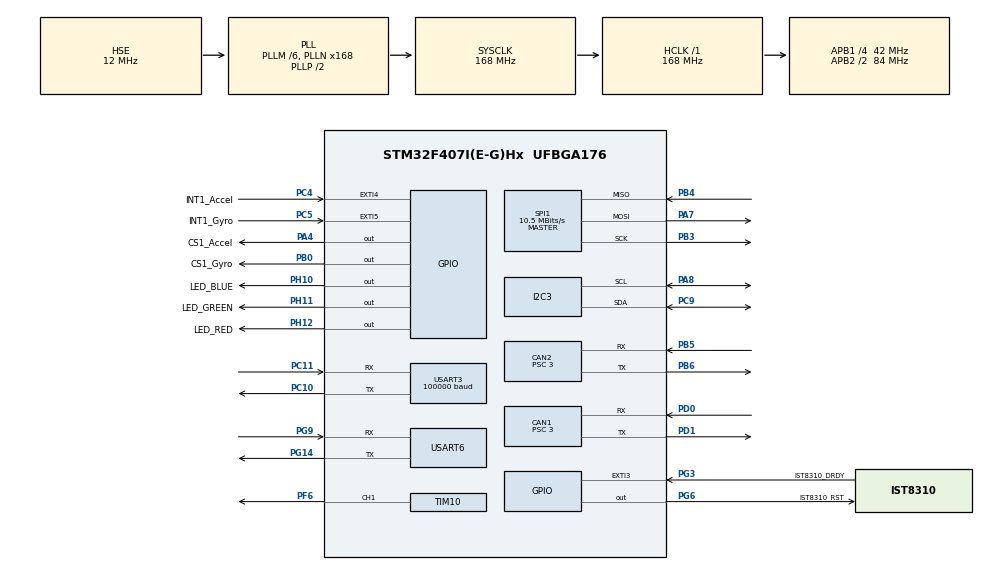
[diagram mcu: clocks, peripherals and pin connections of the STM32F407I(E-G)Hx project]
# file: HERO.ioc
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CAN1.BS1=CAN_BS1_10TQ
CAN1.BS2=CAN_BS2_3TQ
CAN1.CalculateBaudRate=1000000
CAN1.CalculateTimeBit=1000
CAN1.CalculateTimeQuantum=71.42857142857143
CAN1.Prescaler=3
CAN2.BS1=CAN_BS1_10TQ
CAN2.BS2=CAN_BS2_3TQ
CAN2.CalculateBaudRate=1000000
CAN2.CalculateTimeBit=1000
CAN2.CalculateTimeQuantum=71.42857142857143
CAN2.Prescaler=3
Dma.Request0=SPI1_RX
Dma.Request1=SPI1_TX
Dma.Request2=USART3_RX
Dma.Request3=USART6_RX
Dma.Request4=USART6_TX
Dma.SPI1_RX.0.Direction=DMA_PERIPH_TO_MEMORY
Dma.SPI1_RX.0.FIFOMode=DMA_FIFOMODE_DISABLE
Dma.SPI1_RX.0.Instance=DMA2_Stream0
Dma.SPI1_RX.0.MemDataAlignment=DMA_MDATAALIGN_BYTE
Dma.SPI1_RX.0.MemInc=DMA_MINC_ENABLE
Dma.SPI1_RX.0.Mode=DMA_NORMAL
Dma.SPI1_RX.0.PeriphDataAlignment=DMA_PDATAALIGN_BYTE
Dma.SPI1_RX.0.PeriphInc=DMA_PINC_DISABLE
Dma.SPI1_RX.0.Priority=DMA_PRIORITY_VERY_HIGH
Dma.SPI1_TX.1.Direction=DMA_MEMORY_TO_PERIPH
Dma.SPI1_TX.1.FIFOMode=DMA_FIFOMODE_DISABLE
Dma.SPI1_TX.1.Instance=DMA2_Stream3
Dma.SPI1_TX.1.MemDataAlignment=DMA_MDATAALIGN_BYTE
Dma.SPI1_TX.1.MemInc=DMA_MINC_ENABLE
Dma.SPI1_TX.1.Mode=DMA_NORMAL
Dma.SPI1_TX.1.PeriphDataAlignment=DMA_PDATAALIGN_BYTE
Dma.SPI1_TX.1.PeriphInc=DMA_PINC_DISABLE
Dma.SPI1_TX.1.Priority=DMA_PRIORITY_HIGH
Dma.USART3_RX.2.Direction=DMA_PERIPH_TO_MEMORY
Dma.USART3_RX.2.FIFOMode=DMA_FIFOMODE_DISABLE
Dma.USART3_RX.2.Instance=DMA1_Stream1
Dma.USART3_RX.2.MemDataAlignment=DMA_MDATAALIGN_BYTE
Dma.USART3_RX.2.MemInc=DMA_MINC_ENABLE
Dma.USART3_RX.2.Mode=DMA_CIRCULAR
Dma.USART3_RX.2.PeriphDataAlignment=DMA_PDATAALIGN_BYTE
Dma.USART3_RX.2.PeriphInc=DMA_PINC_DISABLE
Dma.USART3_RX.2.Priority=DMA_PRIORITY_VERY_HIGH
Dma.USART6_RX.3.Direction=DMA_PERIPH_TO_MEMORY
Dma.USART6_RX.3.FIFOMode=DMA_FIFOMODE_DISABLE
Dma.USART6_RX.3.Instance=DMA2_Stream1
Dma.USART6_RX.3.MemDataAlignment=DMA_MDATAALIGN_BYTE
Dma.USART6_RX.3.MemInc=DMA_MINC_ENABLE
Dma.USART6_RX.3.Mode=DMA_NORMAL
Dma.USART6_RX.3.PeriphDataAlignment=DMA_PDATAALIGN_BYTE
Dma.USART6_RX.3.PeriphInc=DMA_PINC_DISABLE
Dma.USART6_RX.3.Priority=DMA_PRIORITY_VERY_HIGH
Dma.USART6_TX.4.Direction=DMA_MEMORY_TO_PERIPH
Dma.USART6_TX.4.FIFOMode=DMA_FIFOMODE_DISABLE
Dma.USART6_TX.4.Instance=DMA2_Stream6
Dma.USART6_TX.4.MemDataAlignment=DMA_MDATAALIGN_BYTE
Dma.USART6_TX.4.MemInc=DMA_MINC_ENABLE
Dma.USART6_TX.4.Mode=DMA_NORMAL
Dma.USART6_TX.4.PeriphDataAlignment=DMA_PDATAALIGN_BYTE
Dma.USART6_TX.4.PeriphInc=DMA_PINC_DISABLE
Dma.USART6_TX.4.Priority=DMA_PRIORITY_VERY_HIGH
FREERTOS.INCLUDE_uxTaskGetStackHighWaterMark=1
FREERTOS.INCLUDE_uxTaskGetStackHighWaterMark2=0
FREERTOS.Tasks01=defaultTask,0,128,StartDefaultTask,Default,NULL,Dynamic,NULL,NULL
I2C3.I2C_Mode=I2C_Fast
Mcu.Family=STM32F4
Mcu.Name=STM32F407I(E-G)Hx
Mcu.Package=UFBGA176
NVIC.CAN1_RX0_IRQn=true\:5\:0\:false\:false\:true\:true\:true\:true\:true
NVIC.CAN1_TX_IRQn=true\:5\:0\:false\:false\:true\:true\:true\:true\:true
NVIC.CAN2_RX0_IRQn=true\:5\:0\:false\:false\:true\:true\:true\:true\:true
NVIC.CAN2_TX_IRQn=true\:5\:0\:false\:false\:true\:true\:true\:true\:true
NVIC.DMA1_Stream1_IRQn=true\:5\:0\:false\:false\:true\:true\:false\:true\:true
NVIC.DMA2_Stream0_IRQn=true\:5\:0\:false\:false\:true\:true\:false\:true\:true
NVIC.DMA2_Stream1_IRQn=true\:5\:0\:false\:false\:true\:true\:false\:true\:true
NVIC.DMA2_Stream3_IRQn=true\:5\:0\:false\:false\:true\:true\:false\:true\:true
NVIC.DMA2_Stream6_IRQn=true\:5\:0\:false\:false\:true\:true\:false\:true\:true
NVIC.PriorityGroup=NVIC_PRIORITYGROUP_4
NVIC.TIM3_IRQn=true\:15\:0\:false\:false\:true\:false\:false\:true\:true
NVIC.TimeBase=TIM3_IRQn
NVIC.TimeBaseIP=TIM3
NVIC.USART3_IRQn=true\:5\:0\:false\:false\:true\:true\:true\:true\:true
NVIC.USART6_IRQn=true\:5\:0\:false\:false\:true\:true\:true\:true\:true
PA13.Mode=Serial_Wire
PA13.Signal=SYS_JTMS-SWDIO
PA14.Mode=Serial_Wire
PA14.Signal=SYS_JTCK-SWCLK
PA4.GPIO_Label=CS1_Accel
PA4.GPIO_ModeDefaultOutputPP=GPIO_MODE_OUTPUT_PP
PA4.GPIO_PuPd=GPIO_PULLUP
PA4.Signal=GPIO_Output
PA7.Mode=Full_Duplex_Master
PA7.Signal=SPI1_MOSI
PA8.Mode=I2C
PA8.Signal=I2C3_SCL
PB0.GPIO_Label=CS1_Gyro
PB0.GPIO_PuPd=GPIO_PULLUP
PB0.Signal=GPIO_Output
PB3.Mode=Full_Duplex_Master
PB3.Signal=SPI1_SCK
PB4.Mode=Full_Duplex_Master
PB4.Signal=SPI1_MISO
PB5.Mode=CAN_Activate
PB5.Signal=CAN2_RX
PB6.Mode=CAN_Activate
PB6.Signal=CAN2_TX
PC10.Mode=Asynchronous
PC10.Signal=USART3_TX
PC11.Mode=Asynchronous
PC11.Signal=USART3_RX
PC4.GPIO_Label=INT1_Accel
PC4.GPIO_ModeDefaultEXTI=GPIO_MODE_IT_FALLING
PC4.GPIO_PuPd=GPIO_PULLUP
PC4.Signal=GPXTI4
PC5.GPIO_Label=INT1_Gyro
PC5.GPIO_ModeDefaultEXTI=GPIO_MODE_IT_FALLING
PC5.GPIO_PuPd=GPIO_PULLUP
PC5.Signal=GPXTI5
PC9.Mode=I2C
PC9.Signal=I2C3_SDA
PD0.Mode=CAN_Activate
PD0.Signal=CAN1_RX
PD1.Mode=CAN_Activate
PD1.Signal=CAN1_TX
PF6.GPIO_PuPd=GPIO_PULLUP
PF6.GPIO_Speed=GPIO_SPEED_FREQ_HIGH
PF6.Signal=S_TIM10_CH1
PG14.Mode=Asynchronous
PG14.Signal=USART6_TX
PG3.GPIO_Label=IST8310_DRDY
PG3.GPIO_ModeDefaultEXTI=GPIO_MODE_IT_FALLING
PG3.GPIO_PuPd=GPIO_PULLUP
PG3.Signal=GPXTI3
PG6.GPIO_Label=IST8310_RST
PG6.GPIO_ModeDefaultOutputPP=GPIO_MODE_OUTPUT_PP
PG6.GPIO_PuPd=GPIO_PULLUP
PG6.GPIO_Speed=GPIO_SPEED_FREQ_MEDIUM
PG6.PinState=GPIO_PIN_SET
PG6.Signal=GPIO_Output
PG9.Mode=Asynchronous
PG9.Signal=USART6_RX
PH0-OSC_IN.Mode=HSE-External-Oscillator
PH0-OSC_IN.Signal=RCC_OSC_IN
PH1-OSC_OUT.Mode=HSE-External-Oscillator
PH1-OSC_OUT.Signal=RCC_OSC_OUT
PH10.GPIO_Label=LED_BLUE
PH10.GPIO_ModeDefaultOutputPP=GPIO_MODE_OUTPUT_PP
PH10.GPIO_PuPd=GPIO_PULLUP
PH10.GPIO_Speed=GPIO_SPEED_FREQ_LOW
PH10.PinState=GPIO_PIN_SET
PH10.Signal=GPIO_Output
PH11.GPIO_Label=LED_GREEN
PH11.GPIO_PuPd=GPIO_PULLUP
PH11.GPIO_Speed=GPIO_SPEED_FREQ_LOW
PH11.PinState=GPIO_PIN_SET
PH11.Signal=GPIO_Output
PH12.GPIO_Label=LED_RED
PH12.GPIO_PuPd=GPIO_PULLUP
PH12.GPIO_Speed=GPIO_SPEED_FREQ_LOW
PH12.PinState=GPIO_PIN_SET
PH12.Signal=GPIO_Output
ProjectManager.HeapSize=0x200
ProjectManager.StackSize=0x400
ProjectManager.TargetToolchain=MDK-ARM V5.32
RCC.48MHZClocksFreq_Value=84000000
RCC.AHBFreq_Value=168000000
RCC.APB1CLKDivider=RCC_HCLK_DIV4
RCC.APB1Freq_Value=42000000
RCC.APB1TimFreq_Value=84000000
RCC.APB2CLKDivider=RCC_HCLK_DIV2
RCC.APB2Freq_Value=84000000
RCC.APB2TimFreq_Value=168000000
RCC.CortexFreq_Value=168000000
RCC.HCLKFreq_Value=168000000
RCC.HSE_VALUE=12000000
RCC.HSI_VALUE=16000000
RCC.LSE_VALUE=32768
RCC.PLLM=6
RCC.PLLN=168
RCC.PLLSourceVirtual=RCC_PLLSOURCE_HSE
RCC.SYSCLKFreq_VALUE=168000000
RCC.SYSCLKSource=RCC_SYSCLKSOURCE_PLLCLK
RCC.VCOOutputFreq_Value=336000000
SH.S_TIM10_CH1.0=TIM10_CH1,PWM Generation1 CH1
SPI1.BaudRatePrescaler=SPI_BAUDRATEPRESCALER_8
SPI1.CLKPhase=SPI_PHASE_2EDGE
SPI1.CLKPolarity=SPI_POLARITY_HIGH
SPI1.CalculateBaudRate=10.5 MBits/s
SPI1.Direction=SPI_DIRECTION_2LINES
SPI1.Mode=SPI_MODE_MASTER
SPI1.VirtualType=VM_MASTER
TIM10.Channel=TIM_CHANNEL_1
TIM10.Period=4999
USART3.BaudRate=100000
USART3.VirtualMode=VM_ASYNC
USART6.VirtualMode=VM_ASYNC
VP_FREERTOS_VS_CMSIS_V1.Mode=CMSIS_V1
VP_SYS_VS_tim3.Mode=TIM3
VP_TIM10_VS_ClockSourceINT.Mode=Enable_Timer
board=custom

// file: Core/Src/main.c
/* USER CODE BEGIN Header */
/**
  ******************************************************************************
  * @file           : main.c
  * @brief          : Main program body
  ******************************************************************************
  * @attention
  *
  * Copyright (c) 2023 STMicroelectronics.
  * All rights reserved.
  *
  * This software is licensed under terms that can be found in the LICENSE file
  * in the root directory of this software component.
  * If no LICENSE file comes with this software, it is provided AS-IS.
  *
  ******************************************************************************
  */
/* USER CODE END Header */
#include "main.h"
#include "cmsis_os.h"
#include "can.h"
#include "dma.h"
#include "i2c.h"
#include "spi.h"
#include "tim.h"
#include "usart.h"
#include "gpio.h"

/* USER CODE BEGIN Includes */
#include "INS_task.h"
#include "drv_can.h"
#include "drv_usart.h"
/* USER CODE END Includes */

void SystemClock_Config(void);
void MX_FREERTOS_Init(void);

int main(void)
{

  /* MCU Configuration--------------------------------------------------------*/

  /* Reset of all peripherals, Initializes the Flash interface and the Systick. */
  HAL_Init();

  /* Configure the system clock */
  SystemClock_Config();

  /* Initialize all configured peripherals */
  MX_GPIO_Init();
  MX_DMA_Init();
  MX_I2C3_Init();
  MX_SPI1_Init();
  MX_TIM10_Init();
  MX_USART3_UART_Init();
  MX_CAN1_Init();
  MX_CAN2_Init();
  MX_USART6_UART_Init();
  /* USER CODE BEGIN 2 */
  HAL_GPIO_WritePin(GPIOH,LED_BLUE_Pin,GPIO_PIN_RESET);
  HAL_GPIO_WritePin(GPIOH,LED_RED_Pin,GPIO_PIN_RESET);
  HAL_GPIO_WritePin(GPIOH,LED_GREEN_Pin,GPIO_PIN_RESET);
  HAL_TIM_PWM_Start(&htim10,TIM_CHANNEL_1);
  CAN1_Init();
  CAN2_Init();
  USART3_Init();
  /* USER CODE END 2 */

  /* Call init function for freertos objects (in freertos.c) */
  MX_FREERTOS_Init();

  /* Start scheduler */
  osKernelStart();

  /* We should never get here as control is now taken by the scheduler */
  /* Infinite loop */
  while (1)
  {

  }
}

void SystemClock_Config(void)
{
  RCC_OscInitTypeDef RCC_OscInitStruct = {0};
  RCC_ClkInitTypeDef RCC_ClkInitStruct = {0};

  /** Configure the main internal regulator output voltage
  */
  __HAL_RCC_PWR_CLK_ENABLE();
  __HAL_PWR_VOLTAGESCALING_CONFIG(PWR_REGULATOR_VOLTAGE_SCALE1);

  /** Initializes the RCC Oscillators according to the specified parameters
  * in the RCC_OscInitTypeDef structure.
  */
  RCC_OscInitStruct.OscillatorType = RCC_OSCILLATORTYPE_HSE;
  RCC_OscInitStruct.HSEState = RCC_HSE_ON;
  RCC_OscInitStruct.PLL.PLLState = RCC_PLL_ON;
  RCC_OscInitStruct.PLL.PLLSource = RCC_PLLSOURCE_HSE;
  RCC_OscInitStruct.PLL.PLLM = 6;
  RCC_OscInitStruct.PLL.PLLN = 168;
  RCC_OscInitStruct.PLL.PLLP = RCC_PLLP_DIV2;
  RCC_OscInitStruct.PLL.PLLQ = 4;
  if (HAL_RCC_OscConfig(&RCC_OscInitStruct) != HAL_OK)
  {
    Error_Handler();
  }

  /** Initializes the CPU, AHB and APB buses clocks
  */
  RCC_ClkInitStruct.ClockType = RCC_CLOCKTYPE_HCLK|RCC_CLOCKTYPE_SYSCLK
                              |RCC_CLOCKTYPE_PCLK1|RCC_CLOCKTYPE_PCLK2;
  RCC_ClkInitStruct.SYSCLKSource = RCC_SYSCLKSOURCE_PLLCLK;
  RCC_ClkInitStruct.AHBCLKDivider = RCC_SYSCLK_DIV1;
  RCC_ClkInitStruct.APB1CLKDivider = RCC_HCLK_DIV4;
  RCC_ClkInitStruct.APB2CLKDivider = RCC_HCLK_DIV2;

  if (HAL_RCC_ClockConfig(&RCC_ClkInitStruct, FLASH_LATENCY_5) != HAL_OK)
  {
    Error_Handler();
  }
}

void HAL_TIM_PeriodElapsedCallback(TIM_HandleTypeDef *htim)
{
  if (htim->Instance == TIM3) {
    HAL_IncTick();
  }
}

void Error_Handler(void)
{
  __disable_irq();
  while (1)
  {
  }
}

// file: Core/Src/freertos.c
/* USER CODE BEGIN Header */
/**
  ******************************************************************************
  * File Name          : freertos.c
  * Description        : Code for freertos applications
  ******************************************************************************
  * @attention
  *
  * Copyright (c) 2023 STMicroelectronics.
  * All rights reserved.
  *
  * This software is licensed under terms that can be found in the LICENSE file
  * in the root directory of this software component.
  * If no LICENSE file comes with this software, it is provided AS-IS.
  *
  ******************************************************************************
  */
/* USER CODE END Header */

#include "FreeRTOS.h"
#include "task.h"
#include "main.h"
#include "cmsis_os.h"

/* USER CODE BEGIN Includes */
#include "INS_task.h"
#include "Chassis_task.h"
/* USER CODE END Includes */

/* USER CODE BEGIN Variables */
osThreadId insTaskHandle;
osThreadId chassisTaskHandle;
/* USER CODE END Variables */
osThreadId defaultTaskHandle;

void StartDefaultTask(void const * argument);

void MX_FREERTOS_Init(void); /* (MISRA C 2004 rule 8.1) */

/* GetIdleTaskMemory prototype (linked to static allocation support) */
void vApplicationGetIdleTaskMemory( StaticTask_t **ppxIdleTaskTCBBuffer, StackType_t **ppxIdleTaskStackBuffer, uint32_t *pulIdleTaskStackSize );

/* USER CODE BEGIN GET_IDLE_TASK_MEMORY */
static StaticTask_t xIdleTaskTCBBuffer;
static StackType_t xIdleStack[configMINIMAL_STACK_SIZE];

void vApplicationGetIdleTaskMemory( StaticTask_t **ppxIdleTaskTCBBuffer, StackType_t **ppxIdleTaskStackBuffer, uint32_t *pulIdleTaskStackSize )
{
  *ppxIdleTaskTCBBuffer = &xIdleTaskTCBBuffer;
  *ppxIdleTaskStackBuffer = &xIdleStack[0];
  *pulIdleTaskStackSize = configMINIMAL_STACK_SIZE;
  /* place for user code */
}
/* USER CODE END GET_IDLE_TASK_MEMORY */

void MX_FREERTOS_Init(void) {

  /* Create the thread(s) */
  /* definition and creation of defaultTask */
  osThreadDef(defaultTask, StartDefaultTask, osPriorityNormal, 0, 128);
  defaultTaskHandle = osThreadCreate(osThread(defaultTask), NULL);

  /* USER CODE BEGIN RTOS_THREADS */
    osThreadDef(imutask, INS_Task,  osPriorityRealtime, 0, 512);
    insTaskHandle = osThreadCreate(osThread(imutask), NULL);

     osThreadDef(chassistask, Chassis_task,  osPriorityNormal, 0, 512);
    chassisTaskHandle = osThreadCreate(osThread(chassistask), NULL);
  /* add threads, ... */
  /* USER CODE END RTOS_THREADS */

}

void StartDefaultTask(void const * argument)
{
  /* USER CODE BEGIN StartDefaultTask */
  /* Infinite loop */
  for(;;)
  {
    //HAL_GPIO_TogglePin(GPIOH,GPIO_PIN_10);
    osDelay(100);
  }
  /* USER CODE END StartDefaultTask */
}
